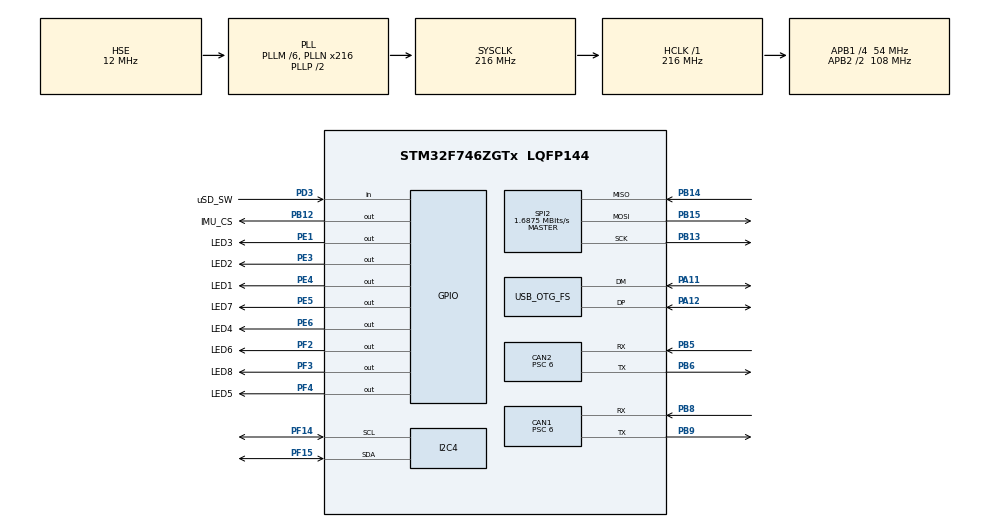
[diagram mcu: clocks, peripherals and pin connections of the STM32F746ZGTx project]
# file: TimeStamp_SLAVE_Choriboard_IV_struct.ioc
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CAN1.BS1=CAN_BS1_6TQ
CAN1.BS2=CAN_BS2_2TQ
CAN1.CalculateBaudRate=1000000
CAN1.CalculateTimeBit=1000
CAN1.CalculateTimeQuantum=111.11111111111111
CAN1.NART=ENABLE
CAN1.Prescaler=6
CAN1.SJW=CAN_SJW_2TQ
CAN2.BS1=CAN_BS1_6TQ
CAN2.BS2=CAN_BS2_2TQ
CAN2.CalculateBaudRate=1000000
CAN2.CalculateTimeBit=1000
CAN2.CalculateTimeQuantum=111.11111111111111
CAN2.Prescaler=6
CAN2.SJW=CAN_SJW_2TQ
I2C4.Timing=0x20404768
Mcu.Family=STM32F7
Mcu.Name=STM32F746ZGTx
Mcu.Package=LQFP144
NVIC.CAN1_RX0_IRQn=true\:0\:0\:false\:false\:true\:true\:true\:true
NVIC.CAN1_SCE_IRQn=true\:0\:0\:false\:false\:true\:true\:true\:true
NVIC.OTG_FS_IRQn=true\:0\:0\:false\:false\:true\:false\:true\:true
NVIC.PriorityGroup=NVIC_PRIORITYGROUP_4
PA11.Mode=Device_Only
PA11.Signal=USB_OTG_FS_DM
PA12.Mode=Device_Only
PA12.Signal=USB_OTG_FS_DP
PA13.Mode=Serial_Wire
PA13.Signal=SYS_JTMS-SWDIO
PA14.Mode=Serial_Wire
PA14.Signal=SYS_JTCK-SWCLK
PB12.GPIO_Label=IMU_CS
PB12.PinState=GPIO_PIN_SET
PB12.Signal=GPIO_Output
PB13.Mode=Full_Duplex_Master
PB13.Signal=SPI2_SCK
PB14.Mode=Full_Duplex_Master
PB14.Signal=SPI2_MISO
PB15.Mode=Full_Duplex_Master
PB15.Signal=SPI2_MOSI
PB5.Mode=CAN_Activate
PB5.Signal=CAN2_RX
PB6.Mode=CAN_Activate
PB6.Signal=CAN2_TX
PB8.Mode=CAN_Activate
PB8.Signal=CAN1_RX
PB9.Mode=CAN_Activate
PB9.Signal=CAN1_TX
PD3.GPIO_Label=uSD_SW
PD3.Signal=GPIO_Input
PE1.GPIO_Label=LED3
PE1.Signal=GPIO_Output
PE3.GPIO_Label=LED2
PE3.Signal=GPIO_Output
PE4.GPIO_Label=LED1
PE4.Signal=GPIO_Output
PE5.GPIO_Label=LED7
PE5.Signal=GPIO_Output
PE6.GPIO_Label=LED4
PE6.Signal=GPIO_Output
PF14.Mode=I2C
PF14.Signal=I2C4_SCL
PF15.Mode=I2C
PF15.Signal=I2C4_SDA
PF2.GPIO_Label=LED6
PF2.Signal=GPIO_Output
PF3.GPIO_Label=LED8
PF3.Signal=GPIO_Output
PF4.GPIO_Label=LED5
PF4.Signal=GPIO_Output
PH0/OSC_IN.Mode=HSE-External-Oscillator
PH0/OSC_IN.Signal=RCC_OSC_IN
PH1/OSC_OUT.Mode=HSE-External-Oscillator
PH1/OSC_OUT.Signal=RCC_OSC_OUT
ProjectManager.HeapSize=0x200
ProjectManager.StackSize=0x400
ProjectManager.TargetToolchain=STM32CubeIDE
RCC.AHBFreq_Value=216000000
RCC.APB1CLKDivider=RCC_HCLK_DIV4
RCC.APB1Freq_Value=54000000
RCC.APB1TimFreq_Value=108000000
RCC.APB2CLKDivider=RCC_HCLK_DIV2
RCC.APB2Freq_Value=108000000
RCC.APB2TimFreq_Value=216000000
RCC.CortexFreq_Value=216000000
RCC.HCLKFreq_Value=216000000
RCC.HSE_VALUE=12000000
RCC.HSI_VALUE=16000000
RCC.LSE_VALUE=32768
RCC.PLLM=6
RCC.PLLN=216
RCC.PLLQ=9
RCC.SDMMCClockSelection=RCC_SDMMC1CLKSOURCE_CLK48
RCC.SYSCLKFreq_VALUE=216000000
RCC.SYSCLKSource=RCC_SYSCLKSOURCE_PLLCLK
RCC.USBFreq_Value=48000000
RCC.VCOOutputFreq_Value=432000000
SPI2.BaudRatePrescaler=SPI_BAUDRATEPRESCALER_32
SPI2.CalculateBaudRate=1.6875 MBits/s
SPI2.DataSize=SPI_DATASIZE_8BIT
SPI2.Direction=SPI_DIRECTION_2LINES
SPI2.Mode=SPI_MODE_MASTER
SPI2.VirtualType=VM_MASTER
TIM5.Prescaler=108-1
USB_DEVICE.CLASS_NAME_FS=CDC
USB_DEVICE.VirtualMode-CDC_FS=Cdc
USB_DEVICE.VirtualModeFS=Cdc_FS
USB_OTG_FS.VirtualMode=Device_Only
VP_TIM5_VS_ClockSourceINT.Mode=Internal
VP_USB_DEVICE_VS_USB_DEVICE_CDC_FS.Mode=CDC_FS
board=custom

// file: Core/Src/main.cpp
/* USER CODE BEGIN Header */
/**
  ******************************************************************************
  * @file           : main.c
  * @brief          : Main program body
  ******************************************************************************
  * @attention
  *
  * Copyright (c) 2024 STMicroelectronics.
  * All rights reserved.
  *
  * This software is licensed under terms that can be found in the LICENSE file
  * in the root directory of this software component.
  * If no LICENSE file comes with this software, it is provided AS-IS.
  *
  ******************************************************************************
  */
/* USER CODE END Header */
#include "main.h"
#include "can.h"
#include "i2c.h"
#include "spi.h"
#include "tim.h"
#include "usb_device.h"
#include "gpio.h"

/* USER CODE BEGIN Includes */
#include "system.h"
#include "CANslave.h"
/* USER CODE END Includes */

/* USER CODE BEGIN PD */
//#define CAN_SLAVE_NODE_ID 1
//#define CAN_SLAVE_NODE_ID 2
#define CAN_SLAVE_NODE_ID 3
/* USER CODE END PD */

/* USER CODE BEGIN PV */

/** Flag global para decirle al main, desde la interrupción, que hay nuevos datos de CAN disponibles. */
volatile uint8_t flagNewCANdataRx0 = 0;

/** Interfaz slave de CAN */
static CANslave_t canSlave;

/** Este buffer se usa para encolar eventos que hayan ocurrido. Luego el dispatcher los toma y ejecuta en respuesta. */
static evBuffer eventsBuffer;

/** Cada vez que alguien quiere enviar un mensaje a través del bus CAN, debe depositar el mensaje en este buffer. */
static canMsgBuffer canTxBuffer;

/** Cada vez que se recibe un mensaje de CAN, el mensaje se copia en este buffer, para no perderlo y permitir que lleguen nuevos mensajes. */
static canMsgBuffer canRxBuffer;

/** Punteros globales, sirven para que todos los miembros del sistema puedan acceder a estos elementos. */
evBuffer * const p_eventsBuffer = &eventsBuffer;
canMsgBuffer * const p_canTxBuffer = &canTxBuffer;
canMsgBuffer * const p_canRxBuffer = &canRxBuffer;

#ifdef __cplusplus
extern "C" {
#endif

/* USER CODE END PV */

void SystemClock_Config(void);
/* USER CODE BEGIN PFP */

#ifdef __cplusplus
}
#endif

/* USER CODE END PFP */

int main(void)
{
  /* USER CODE BEGIN 1 */
  event_t event;
  localClock_t localClock;

  /* USER CODE END 1 */

  /* MCU Configuration--------------------------------------------------------*/

  /* Reset of all peripherals, Initializes the Flash interface and the Systick. */
  HAL_Init();

  /* Configure the system clock */
  SystemClock_Config();

  /* Initialize all configured peripherals */
  MX_GPIO_Init();
  MX_SPI2_Init();
  MX_I2C4_Init();
  MX_USB_DEVICE_Init();
  MX_CAN1_Init();
  MX_CAN2_Init();
  MX_TIM5_Init();
  /* USER CODE BEGIN 2 */

  STM32::gpio redLED(LED1_GPIO_Port, LED1_Pin);
  STM32::gpio greenLED(LED2_GPIO_Port, LED2_Pin);

  // Prendo un LED para indicar que hay alimentación en la chori
  greenLED.write(GPIO_ST::HIGH);

  /* USER CODE END 2 */

  /* Infinite loop */
  /* USER CODE BEGIN WHILE */

  localClock_constructor(&localClock, &htim5, &redLED);
  CANslave_constructor(&canSlave, &hcan1, CAN_SLAVE_NODE_ID, &localClock);

  stateMachine_init((stateMachine_t*)&canSlave);

  HAL_Delay(5000);

  p_eventsBuffer->write(EV_CAN_TURN_ON);

  while (1)
  {
    /* USER CODE END WHILE */

    /* USER CODE BEGIN 3 */
	// Verifica si hay nuevos datos provenientes del bus CAN.
	if(flagNewCANdataRx0 == 1)
	{
		p_eventsBuffer->write(EV_CAN_FETCH_NEW_MSGS);

		// Bajo el flag, indicando que ya le avisé al CAN master acerca de los datos nuevos
		flagNewCANdataRx0 = 0;
	}

	// Verifica si hay mensajes de CAN esperando para ser enviados. En dicho caso, genera un evento.
	if(!p_canTxBuffer->is_empty())
	{
		p_eventsBuffer->write(EV_CAN_SEND_NEXT_MSG);
	}

	// Verifica si hay mensajes de CAN que están esperando para ser leidos. En dicho caso, genera un evento.
	if(!p_canRxBuffer->is_empty())
	{
		p_eventsBuffer->write(EV_CAN_PROCESS_NEW_MSG);
	}

	// Si hay eventos en el buffer de eventos, toma uno y lo dispatchea.
	if(!p_eventsBuffer->is_empty())
	{
		p_eventsBuffer->read(&event);
		stateMachine_dispatch((stateMachine_t*)&canSlave, event);
	}

  }
  /* USER CODE END 3 */
}

void SystemClock_Config(void)
{
  RCC_OscInitTypeDef RCC_OscInitStruct = {0};
  RCC_ClkInitTypeDef RCC_ClkInitStruct = {0};

  /** Configure the main internal regulator output voltage
  */
  __HAL_RCC_PWR_CLK_ENABLE();
  __HAL_PWR_VOLTAGESCALING_CONFIG(PWR_REGULATOR_VOLTAGE_SCALE1);

  /** Initializes the RCC Oscillators according to the specified parameters
  * in the RCC_OscInitTypeDef structure.
  */
  RCC_OscInitStruct.OscillatorType = RCC_OSCILLATORTYPE_HSE;
  RCC_OscInitStruct.HSEState = RCC_HSE_ON;
  RCC_OscInitStruct.PLL.PLLState = RCC_PLL_ON;
  RCC_OscInitStruct.PLL.PLLSource = RCC_PLLSOURCE_HSE;
  RCC_OscInitStruct.PLL.PLLM = 6;
  RCC_OscInitStruct.PLL.PLLN = 216;
  RCC_OscInitStruct.PLL.PLLP = RCC_PLLP_DIV2;
  RCC_OscInitStruct.PLL.PLLQ = 9;
  if (HAL_RCC_OscConfig(&RCC_OscInitStruct) != HAL_OK)
  {
    Error_Handler();
  }

  /** Activate the Over-Drive mode
  */
  if (HAL_PWREx_EnableOverDrive() != HAL_OK)
  {
    Error_Handler();
  }

  /** Initializes the CPU, AHB and APB buses clocks
  */
  RCC_ClkInitStruct.ClockType = RCC_CLOCKTYPE_HCLK|RCC_CLOCKTYPE_SYSCLK
                              |RCC_CLOCKTYPE_PCLK1|RCC_CLOCKTYPE_PCLK2;
  RCC_ClkInitStruct.SYSCLKSource = RCC_SYSCLKSOURCE_PLLCLK;
  RCC_ClkInitStruct.AHBCLKDivider = RCC_SYSCLK_DIV1;
  RCC_ClkInitStruct.APB1CLKDivider = RCC_HCLK_DIV4;
  RCC_ClkInitStruct.APB2CLKDivider = RCC_HCLK_DIV2;

  if (HAL_RCC_ClockConfig(&RCC_ClkInitStruct, FLASH_LATENCY_7) != HAL_OK)
  {
    Error_Handler();
  }
}

void Error_Handler(void)
{
  __disable_irq();
  while (1)
  {
  }
}
